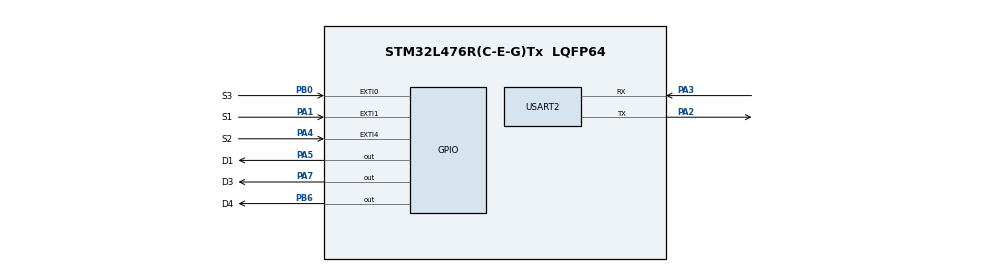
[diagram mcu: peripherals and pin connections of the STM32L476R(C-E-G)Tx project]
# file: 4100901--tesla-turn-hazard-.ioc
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Mcu.Family=STM32L4
Mcu.Name=STM32L476R(C-E-G)Tx
Mcu.Package=LQFP64
NVIC.EXTI1_IRQn=true\:0\:0\:false\:false\:true\:true\:true\:true
NVIC.EXTI4_IRQn=true\:0\:0\:false\:false\:true\:true\:true\:true
NVIC.PriorityGroup=NVIC_PRIORITYGROUP_4
PA1.GPIO_Label=S1
PA1.GPIO_ModeDefaultEXTI=GPIO_MODE_IT_FALLING
PA1.Signal=GPXTI1
PA2.Mode=Asynchronous
PA2.Signal=USART2_TX
PA3.Mode=Asynchronous
PA3.Signal=USART2_RX
PA4.GPIO_Label=S2
PA4.GPIO_ModeDefaultEXTI=GPIO_MODE_IT_FALLING
PA4.Signal=GPXTI4
PA5.GPIO_Label=D1
PA5.PinState=GPIO_PIN_SET
PA5.Signal=GPIO_Output
PA7.GPIO_Label=D3
PA7.PinState=GPIO_PIN_SET
PA7.Signal=GPIO_Output
PB0.GPIO_Label=S3
PB0.Signal=GPXTI0
PB6.GPIO_Label=D4
PB6.PinState=GPIO_PIN_SET
PB6.Signal=GPIO_Output
ProjectManager.HeapSize=0x200
ProjectManager.StackSize=0x400
ProjectManager.TargetToolchain=STM32CubeIDE
RCC.HSE_VALUE=8000000
RCC.HSI_VALUE=16000000
RCC.LSE_VALUE=32768
RCC.MSI_VALUE=4000000
RCC.VCOOutputFreq_Value=32000000
USART2.VirtualMode-Asynchronous=VM_ASYNC
board=custom

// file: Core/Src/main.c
/* USER CODE BEGIN Header */
/**
  ******************************************************************************
  * @file           : main.c
  * @brief          : Main program body
  ******************************************************************************
  * @attention
  *
  * Copyright (c) 2024 STMicroelectronics.
  * All rights reserved.
  *
  * This software is licensed under terms that can be found in the LICENSE file
  * in the root directory of this software component.
  * If no LICENSE file comes with this software, it is provided AS-IS.
  *
  ******************************************************************************
  */
/* USER CODE END Header */
#include "main.h"

UART_HandleTypeDef huart2;

void SystemClock_Config(void);
static void MX_GPIO_Init(void);
static void MX_USART2_UART_Init(void);
/* USER CODE BEGIN PFP */

void HAL_GPIO_EXTI_Callback(uint16_t GPIO_Pin)
{
  /* Prevent unused argument(s) compilation warning */
  UNUSED(GPIO_Pin);
  uint32_t current_time = HAL_GetTick();

  //detectar y procesar las interrupciones. Se tiene en cuenta que se trabaja con tres pulsaciones para cada boton.
    if (GPIO_Pin == S1_Pin){
//si el boton esta resionado, se inicializa la variable Left_toggles para hacer la intermitencia.
  		  if(counter_left==1){

          	  HAL_UART_Transmit(&huart2, "S1\r\n", 4, 10);
          	  left_toggles = 6;
            }
            else if(counter_left==2){
          	  HAL_UART_Transmit(&huart2, "S1_toggles\r\n",12, 10);
          	  left_toggles = 0xEEEEEEE;

            }
            else if (counter_left>=3){ // Despues de la tercer pulsacion se resetean las variables para contar
          	  HAL_UART_Transmit(&huart2, "S1_off\r\n",8, 10);
          	  counter_left=0;
          	  left_toggles = 0;

            }

    }

  	  }

  /* NOTE: This function should not be modified, when the callback is needed,
           the HAL_GPIO_EXTI_Callback could be implemented in the user file
   */

/* USER CODE END PFP */

/* USER CODE BEGIN 0 */

//funcion para intermitenica de funcionamiento. se utiliza la funcion HAL_GetTick y la vraible Toggles que se establecio en las interrupciones.
void heartbeat (void){

	static uint32_t heartbeat_tick = 0;
	if(heartbeat_tick  < HAL_GetTick() ){
		heartbeat_tick = HAL_GetTick() + 500;
		HAL_GPIO_TogglePin(D1_GPIO_Port, D1_Pin);
	}
}
/* USER CODE END 0 */

int main(void)
{

  /* MCU Configuration--------------------------------------------------------*/

  /* Reset of all peripherals, Initializes the Flash interface and the Systick. */
  HAL_Init();

  /* Configure the system clock */
  SystemClock_Config();

  /* Initialize all configured peripherals */
  MX_GPIO_Init();
  MX_USART2_UART_Init();

  /* Infinite loop */
  /* USER CODE BEGIN WHILE */
  while (1)
  {

	  heartbeat();
	  turn_signal_left();
    /* USER CODE END WHILE */

  }
}

void SystemClock_Config(void)
{
  RCC_OscInitTypeDef RCC_OscInitStruct = {0};
  RCC_ClkInitTypeDef RCC_ClkInitStruct = {0};

  /** Configure the main internal regulator output voltage
  */
  if (HAL_PWREx_ControlVoltageScaling(PWR_REGULATOR_VOLTAGE_SCALE1) != HAL_OK)
  {
    Error_Handler();
  }

  /** Initializes the RCC Oscillators according to the specified parameters
  * in the RCC_OscInitTypeDef structure.
  */
  RCC_OscInitStruct.OscillatorType = RCC_OSCILLATORTYPE_MSI;
  RCC_OscInitStruct.MSIState = RCC_MSI_ON;
  RCC_OscInitStruct.MSICalibrationValue = 0;
  RCC_OscInitStruct.MSIClockRange = RCC_MSIRANGE_6;
  RCC_OscInitStruct.PLL.PLLState = RCC_PLL_NONE;
  if (HAL_RCC_OscConfig(&RCC_OscInitStruct) != HAL_OK)
  {
    Error_Handler();
  }

  /** Initializes the CPU, AHB and APB buses clocks
  */
  RCC_ClkInitStruct.ClockType = RCC_CLOCKTYPE_HCLK|RCC_CLOCKTYPE_SYSCLK
                              |RCC_CLOCKTYPE_PCLK1|RCC_CLOCKTYPE_PCLK2;
  RCC_ClkInitStruct.SYSCLKSource = RCC_SYSCLKSOURCE_MSI;
  RCC_ClkInitStruct.AHBCLKDivider = RCC_SYSCLK_DIV1;
  RCC_ClkInitStruct.APB1CLKDivider = RCC_HCLK_DIV1;
  RCC_ClkInitStruct.APB2CLKDivider = RCC_HCLK_DIV1;

  if (HAL_RCC_ClockConfig(&RCC_ClkInitStruct, FLASH_LATENCY_0) != HAL_OK)
  {
    Error_Handler();
  }
}

static void MX_USART2_UART_Init(void)
{

  huart2.Instance = USART2;
  huart2.Init.BaudRate = 115200;
  huart2.Init.WordLength = UART_WORDLENGTH_8B;
  huart2.Init.StopBits = UART_STOPBITS_1;
  huart2.Init.Parity = UART_PARITY_NONE;
  huart2.Init.Mode = UART_MODE_TX_RX;
  huart2.Init.HwFlowCtl = UART_HWCONTROL_NONE;
  huart2.Init.OverSampling = UART_OVERSAMPLING_16;
  huart2.Init.OneBitSampling = UART_ONE_BIT_SAMPLE_DISABLE;
  huart2.AdvancedInit.AdvFeatureInit = UART_ADVFEATURE_NO_INIT;
  if (HAL_UART_Init(&huart2) != HAL_OK)
  {
    Error_Handler();
  }

}

static void MX_GPIO_Init(void)
{
  GPIO_InitTypeDef GPIO_InitStruct = {0};

  /* GPIO Ports Clock Enable */
  __HAL_RCC_GPIOA_CLK_ENABLE();
  __HAL_RCC_GPIOB_CLK_ENABLE();

  /*Configure GPIO pin Output Level */
  HAL_GPIO_WritePin(GPIOA, D1_Pin|D3_Pin, GPIO_PIN_SET);

  /*Configure GPIO pin Output Level */
  HAL_GPIO_WritePin(D4_GPIO_Port, D4_Pin, GPIO_PIN_SET);

  /*Configure GPIO pins : S1_Pin S2_Pin */
  GPIO_InitStruct.Pin = S1_Pin|S2_Pin;
  GPIO_InitStruct.Mode = GPIO_MODE_IT_FALLING;
  GPIO_InitStruct.Pull = GPIO_NOPULL;
  HAL_GPIO_Init(GPIOA, &GPIO_InitStruct);

  /*Configure GPIO pins : D1_Pin D3_Pin */
  GPIO_InitStruct.Pin = D1_Pin|D3_Pin;
  GPIO_InitStruct.Mode = GPIO_MODE_OUTPUT_PP;
  GPIO_InitStruct.Pull = GPIO_NOPULL;
  GPIO_InitStruct.Speed = GPIO_SPEED_FREQ_LOW;
  HAL_GPIO_Init(GPIOA, &GPIO_InitStruct);

  /*Configure GPIO pin : S3_Pin */
  GPIO_InitStruct.Pin = S3_Pin;
  GPIO_InitStruct.Mode = GPIO_MODE_IT_RISING;
  GPIO_InitStruct.Pull = GPIO_NOPULL;
  HAL_GPIO_Init(S3_GPIO_Port, &GPIO_InitStruct);

  /*Configure GPIO pin : D4_Pin */
  GPIO_InitStruct.Pin = D4_Pin;
  GPIO_InitStruct.Mode = GPIO_MODE_OUTPUT_PP;
  GPIO_InitStruct.Pull = GPIO_NOPULL;
  GPIO_InitStruct.Speed = GPIO_SPEED_FREQ_LOW;
  HAL_GPIO_Init(D4_GPIO_Port, &GPIO_InitStruct);

  /* EXTI interrupt init*/
  HAL_NVIC_SetPriority(EXTI1_IRQn, 0, 0);
  HAL_NVIC_EnableIRQ(EXTI1_IRQn);

  HAL_NVIC_SetPriority(EXTI4_IRQn, 0, 0);
  HAL_NVIC_EnableIRQ(EXTI4_IRQn);

}

void Error_Handler(void)
{
  __disable_irq();
  while (1)
  {
  }
}
